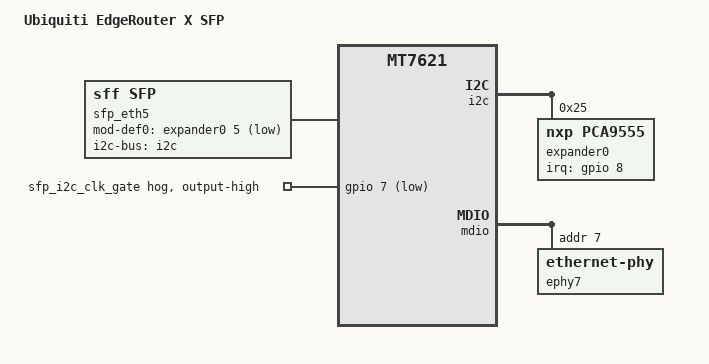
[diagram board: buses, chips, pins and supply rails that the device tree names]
#include "mt7621_ubnt_edgerouter-x.dtsi"

/ {
	model = "Ubiquiti EdgeRouter X SFP";
	compatible = "ubnt,edgerouter-x-sfp", "mediatek,mt7621-soc";

	sfp_eth5: sfp_eth5 {
		compatible = "sff,sfp";
		i2c-bus = <&i2c>;
		mod-def0-gpio = <&expander0 5 GPIO_ACTIVE_LOW>;
		maximum-power-milliwatt = <1000>;
	};
};

&i2c {
	status = "okay";

	/*
	 * PCA9655 GPIO expander
	 *  0-POE power port eth0
	 *  1-POE power port eth1
	 *  2-POE power port eth2
	 *  3-POE power port eth3
	 *  4-POE power port eth4
	 *  5-SFP_MOD_DEF0#
	 *  6-
	 *  7-
	 *  8-Pull up to VCC
	 *  9-Pull down to GND
	 * 10-Pull down to GND
	 * 11-Pull down to GND
	 * 12-Pull down to GND
	 * 13-Pull down to GND
	 * 14-Pull down to GND
	 * 15-Pull down to GND
	 */
	expander0: pca9555@25 {
		compatible = "nxp,pca9555";
		interrupt-parent = <&gpio>;
		interrupts = <8 IRQ_TYPE_EDGE_FALLING>;
		gpio-controller;
		#gpio-cells = <2>;
		reg = <0x25>;
	};
};

&gpio {
	sfp_i2c_clk_gate {
		gpio-hog;
		gpios = <7 GPIO_ACTIVE_LOW>;
		output-high;
	};
};

&mdio {
	ephy7: ethernet-phy@7 {
		reg = <7>;
		sfp = <&sfp_eth5>;
	};
};

&switch0 {
	ports {
		port@5 {
			reg = <5>;
			label = "eth5";
			phy-handle = <&ephy7>;
			phy-mode = "rgmii-rxid";
			mtd-mac-address = <&factory 0x22>;
			mtd-mac-address-increment = <5>;
		};
	};
};
